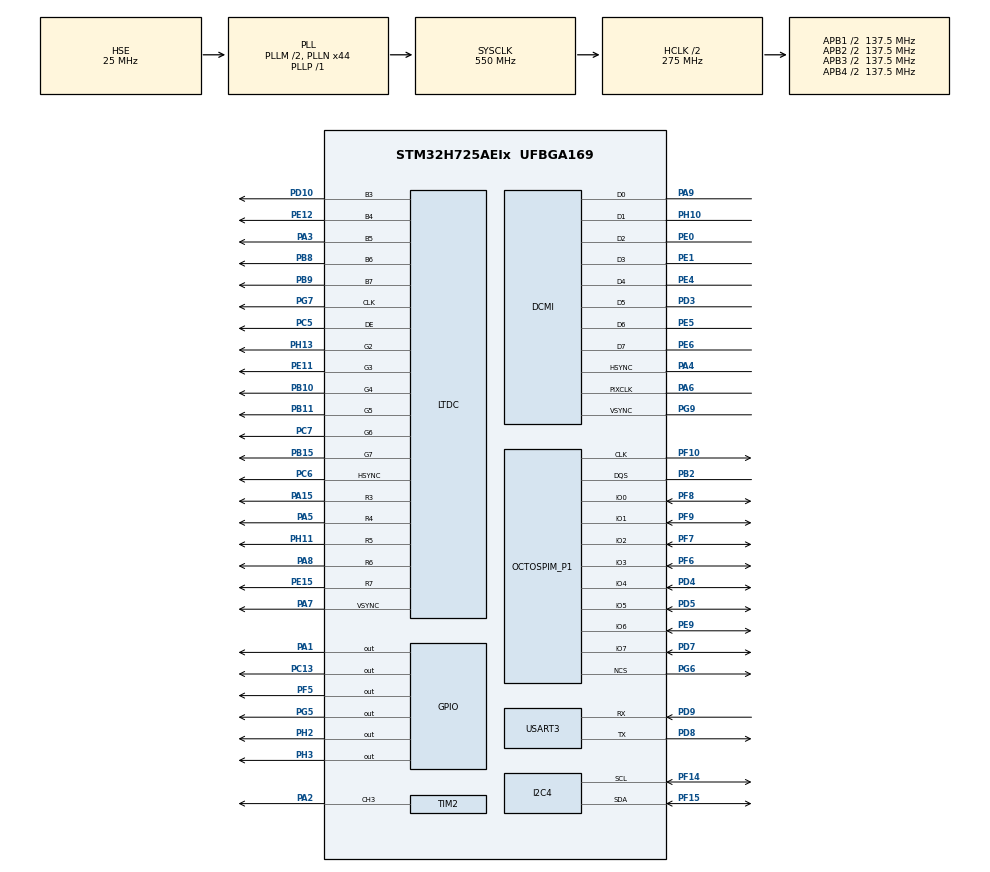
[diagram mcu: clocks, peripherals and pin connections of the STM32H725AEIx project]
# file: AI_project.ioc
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CORTEX_M7.CPU_DCache=Enabled
CORTEX_M7.CPU_ICache=Enabled
CORTEX_M7.MPU_Control=MPU_HFNMI_PRIVDEF
DCMI.PCKPolarity=DCMI_PCKPOLARITY_RISING
Dma.DCMI_PSSI.0.Direction=DMA_PERIPH_TO_MEMORY
Dma.DCMI_PSSI.0.EventEnable=DISABLE
Dma.DCMI_PSSI.0.FIFOMode=DMA_FIFOMODE_ENABLE
Dma.DCMI_PSSI.0.FIFOThreshold=DMA_FIFO_THRESHOLD_FULL
Dma.DCMI_PSSI.0.Instance=DMA2_Stream1
Dma.DCMI_PSSI.0.MemBurst=DMA_MBURST_SINGLE
Dma.DCMI_PSSI.0.MemDataAlignment=DMA_MDATAALIGN_WORD
Dma.DCMI_PSSI.0.MemInc=DMA_MINC_ENABLE
Dma.DCMI_PSSI.0.Mode=DMA_CIRCULAR
Dma.DCMI_PSSI.0.PeriphBurst=DMA_PBURST_SINGLE
Dma.DCMI_PSSI.0.PeriphDataAlignment=DMA_PDATAALIGN_WORD
Dma.DCMI_PSSI.0.PeriphInc=DMA_PINC_DISABLE
Dma.DCMI_PSSI.0.Polarity=HAL_DMAMUX_REQ_GEN_RISING
Dma.DCMI_PSSI.0.Priority=DMA_PRIORITY_VERY_HIGH
Dma.DCMI_PSSI.0.RequestNumber=1
Dma.DCMI_PSSI.0.SignalID=NONE
Dma.DCMI_PSSI.0.SyncEnable=DISABLE
Dma.DCMI_PSSI.0.SyncPolarity=HAL_DMAMUX_SYNC_NO_EVENT
Dma.DCMI_PSSI.0.SyncRequestNumber=1
Dma.DCMI_PSSI.0.SyncSignalID=NONE
Dma.Request0=DCMI_PSSI
I2C4.Timing=0x60404E72
LTDC.ActiveH=320
LTDC.ActiveW=240
LTDC.Alpha_L0=255
LTDC.BlendingFactor1_L0=LTDC_BLENDING_FACTOR1_PAxCA
LTDC.BlendingFactor2_L0=LTDC_BLENDING_FACTOR2_PAxCA
LTDC.FBStartAdress_L0=LCD_BUFFER
LTDC.Green=0
LTDC.HBP=10
LTDC.HFP=38
LTDC.HSync=10
LTDC.ImageHeight_L0=320
LTDC.ImageWidth_L0=240
LTDC.Layers=0
LTDC.PixelFormat_L0=LTDC_PIXEL_FORMAT_RGB565
LTDC.Red=0
LTDC.WindowX1_L0=240
LTDC.WindowY1_L0=320
Mcu.Family=STM32H7
Mcu.Name=STM32H725AEIx
Mcu.Package=UFBGA169
NVIC.DCMI_PSSI_IRQn=true\:5\:0\:true\:false\:true\:true\:true
NVIC.DMA2_Stream1_IRQn=true\:0\:0\:false\:false\:true\:false\:true
NVIC.PriorityGroup=NVIC_PRIORITYGROUP_4
OCTOSPI1.ChipSelectBoundary=10
OCTOSPI1.ClkChipSelectHighTime=1
OCTOSPI1.ClockPrescaler=2
OCTOSPI1.DelayBlockBypass=HAL_OSPI_DELAY_BLOCK_USED
OCTOSPI1.DelayHoldQuarterCycle=HAL_OSPI_DHQC_ENABLE
OCTOSPI1.DeviceSize=23
OCTOSPI1.FifoThreshold=4
OCTOSPI1.MemoryType=HAL_OSPI_MEMTYPE_APMEMORY
PA1.PinState=GPIO_PIN_RESET
PA1.Signal=GPIO_Output
PA15(JTDI).Mode=RGB565
PA15(JTDI).Signal=LTDC_R3
PA2.Signal=S_TIM2_CH3
PA3.Mode=RGB565
PA3.Signal=LTDC_B5
PA4.Mode=Slave_8_bits_External_Synchro
PA4.Signal=DCMI_HSYNC
PA5.Mode=RGB565
PA5.Signal=LTDC_R4
PA6.Mode=Slave_8_bits_External_Synchro
PA6.Signal=DCMI_PIXCLK
PA7.Mode=RGB565
PA7.Signal=LTDC_VSYNC
PA8.Mode=RGB565
PA8.Signal=LTDC_R6
PA9.Mode=Slave_8_bits_External_Synchro
PA9.Signal=DCMI_D0
PB10.Mode=RGB565
PB10.Signal=LTDC_G4
PB11.Mode=RGB565
PB11.Signal=LTDC_G5
PB15.Mode=RGB565
PB15.Signal=LTDC_G7
PB2.Mode=OCTOSPI1_Port1_DQS
PB2.Signal=OCTOSPIM_P1_DQS
PB8.Mode=RGB565
PB8.Signal=LTDC_B6
PB9.Mode=RGB565
PB9.Signal=LTDC_B7
PC13.Signal=GPIO_Output
PC14-OSC32_IN.Mode=LSE-External-Oscillator
PC14-OSC32_IN.Signal=RCC_OSC32_IN
PC15-OSC32_OUT.Mode=LSE-External-Oscillator
PC15-OSC32_OUT.Signal=RCC_OSC32_OUT
PC5.Mode=RGB565
PC5.Signal=LTDC_DE
PC6.Mode=RGB565
PC6.Signal=LTDC_HSYNC
PC7.Mode=RGB565
PC7.Signal=LTDC_G6
PD10.Mode=RGB565
PD10.Signal=LTDC_B3
PD3.Mode=Slave_8_bits_External_Synchro
PD3.Signal=DCMI_D5
PD4.Mode=OCTOSPI1_IOH_Port1H
PD4.Signal=OCTOSPIM_P1_IO4
PD5.Mode=OCTOSPI1_IOH_Port1H
PD5.Signal=OCTOSPIM_P1_IO5
PD7.Mode=OCTOSPI1_IOH_Port1H
PD7.Signal=OCTOSPIM_P1_IO7
PD8.Mode=Asynchronous
PD8.Signal=USART3_TX
PD9.Mode=Asynchronous
PD9.Signal=USART3_RX
PE0.Mode=Slave_8_bits_External_Synchro
PE0.Signal=DCMI_D2
PE1.Mode=Slave_8_bits_External_Synchro
PE1.Signal=DCMI_D3
PE11.Mode=RGB565
PE11.Signal=LTDC_G3
PE12.Mode=RGB565
PE12.Signal=LTDC_B4
PE15.Mode=RGB565
PE15.Signal=LTDC_R7
PE4.Mode=Slave_8_bits_External_Synchro
PE4.Signal=DCMI_D4
PE5.Mode=Slave_8_bits_External_Synchro
PE5.Signal=DCMI_D6
PE6.Mode=Slave_8_bits_External_Synchro
PE6.Signal=DCMI_D7
PE9.Mode=OCTOSPI1_IOH_Port1H
PE9.Signal=OCTOSPIM_P1_IO6
PF10.Mode=O1_P1_CLK
PF10.Signal=OCTOSPIM_P1_CLK
PF14.Mode=I2C
PF14.Signal=I2C4_SCL
PF15.Mode=I2C
PF15.Signal=I2C4_SDA
PF5.Signal=GPIO_Output
PF6.Mode=OCTOSPI1_IOL_Port1L
PF6.Signal=OCTOSPIM_P1_IO3
PF7.Mode=OCTOSPI1_IOL_Port1L
PF7.Signal=OCTOSPIM_P1_IO2
PF8.Mode=OCTOSPI1_IOL_Port1L
PF8.Signal=OCTOSPIM_P1_IO0
PF9.Mode=OCTOSPI1_IOL_Port1L
PF9.Signal=OCTOSPIM_P1_IO1
PG5.Signal=GPIO_Output
PG6.Mode=OCTOSPI1_Port1_NCS
PG6.Signal=OCTOSPIM_P1_NCS
PG7.Mode=RGB565
PG7.Signal=LTDC_CLK
PG9.Mode=Slave_8_bits_External_Synchro
PG9.Signal=DCMI_VSYNC
PH0-OSC_IN.Mode=HSE-External-Oscillator
PH0-OSC_IN.Signal=RCC_OSC_IN
PH1-OSC_OUT.Mode=HSE-External-Oscillator
PH1-OSC_OUT.Signal=RCC_OSC_OUT
PH10.Mode=Slave_8_bits_External_Synchro
PH10.Signal=DCMI_D1
PH11.Mode=RGB565
PH11.Signal=LTDC_R5
PH13.Mode=RGB565
PH13.Signal=LTDC_G2
PH2.Signal=GPIO_Output
PH3.Signal=GPIO_Output
ProjectManager.HeapSize=0x200
ProjectManager.StackSize=0x400
ProjectManager.TargetToolchain=STM32CubeIDE
RCC.ADCFreq_Value=133000000
RCC.APB1Freq_Value=137500000
RCC.APB2Freq_Value=137500000
RCC.APB3Freq_Value=137500000
RCC.APB4Freq_Value=137500000
RCC.CortexFreq_Value=550000000
RCC.D1PPRE=RCC_APB3_DIV2
RCC.D2PPRE1=RCC_APB1_DIV2
RCC.D2PPRE2=RCC_APB2_DIV2
RCC.D3PPRE=RCC_APB4_DIV2
RCC.DIVM1=2
RCC.DIVM2=25
RCC.DIVM3=5
RCC.DIVN1=44
RCC.DIVN2=266
RCC.DIVN3=48
RCC.DIVP1=1
RCC.DIVQ1=5
RCC.DIVQ3=5
RCC.DIVR2=1
RCC.DIVR3=20
RCC.HCLKFreq_Value=275000000
RCC.HPRE=RCC_HCLK_DIV2
RCC.PLLSourceVirtual=RCC_PLLSOURCE_HSE
RCC.QSPICLockSelection=RCC_OSPICLKSOURCE_PLL2
RCC.SYSCLKFreq_VALUE=550000000
RCC.SYSCLKSource=RCC_SYSCLKSOURCE_PLLCLK
RCC.USBFreq_Value=110000000
SH.S_TIM2_CH3.0=TIM2_CH3,PWM Generation3 CH3
TIM2.AutoReloadPreload=TIM_AUTORELOAD_PRELOAD_ENABLE
TIM2.Channel-PWM\ Generation3\ CH3=TIM_CHANNEL_3
TIM2.Period=10
TIM2.Pulse-PWM\ Generation3\ CH3=5
USART3.VirtualMode-Asynchronous=VM_ASYNC
VP_OCTOSPI1_VS_octo.Mode=octo_mode
VP_TIM2_VS_ClockSourceINT.Mode=Internal
board=custom

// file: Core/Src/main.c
/* USER CODE BEGIN Header */
/**
 ******************************************************************************
 * @file           : main.c
 * @brief          : Main program body
 ******************************************************************************
 * @attention
 *
 * <h2><center>&copy; Copyright (c) 2021 STMicroelectronics.
 * All rights reserved.</center></h2>
 *
 * This software component is licensed by ST under BSD 3-Clause license,
 * the "License"; You may not use this file except in compliance with the
 * License. You may obtain a copy of the License at:
 *                        opensource.org/licenses/BSD-3-Clause
 *
 ******************************************************************************
 */
/* USER CODE END Header */
#include "main.h"
#include "dcmi.h"
#include "dma.h"
#include "i2c.h"
#include "ltdc.h"
#include "octospi.h"
#include "tim.h"
#include "usart.h"
#include "gpio.h"

/* USER CODE BEGIN Includes */
#include "LOG.h"
#include "LCD.h"
#include "OV2640.h"
#include "AP6408L.h"
/* USER CODE END Includes */

/* USER CODE BEGIN PV */
EXTMEM uint8_t buffer[320 * 240 * 2] =
{ 0 }; //
static Frame_TypeDef frame =
{ .buffer = buffer, .length = 320 * 240 * 2, .width = 320, .height = 240 };
static OV2640_TypeDef OV2640 =
{ .dcmi = &hdcmi, .dma = &hdma_dcmi_pssi, .i2c = &hi2c4, .frame = &frame };
/* USER CODE END PV */

void SystemClock_Config(void);
static void MPU_Config(void);

int main(void)
{

  /* MPU Configuration--------------------------------------------------------*/
  MPU_Config();

  /* Enable I-Cache---------------------------------------------------------*/
  SCB_EnableICache();

  /* Enable D-Cache---------------------------------------------------------*/
  SCB_EnableDCache();

  /* MCU Configuration--------------------------------------------------------*/

  /* Reset of all peripherals, Initializes the Flash interface and the Systick. */
  HAL_Init();

  /* Configure the system clock */
  SystemClock_Config();

  /* Initialize all configured peripherals */
  MX_GPIO_Init();
  MX_USART3_UART_Init();
  MX_LTDC_Init();
  MX_I2C4_Init();
  MX_DMA_Init();
  MX_DCMI_Init();
  MX_TIM2_Init();
  MX_OCTOSPI1_Init();
  /* USER CODE BEGIN 2 */
	LOG("here");
	Psram_Init();

	/*OV2640 Init*/
	HAL_TIM_PWM_Start(&htim2, TIM_CHANNEL_3); //XCLK
	OV2640_Init(&OV2640);
	OV2640_ReadID(&(OV2640.ID));
	LOG("ID: %02X %02X \r\n", OV2640.ID.PIDH, OV2640.ID.PIDL);
	OV2640_UXGAConfig();
	OV2640_Start();

  /* USER CODE END 2 */

  /* Infinite loop */
	while (1)
	{

	}
}

void SystemClock_Config(void)
{
  RCC_OscInitTypeDef RCC_OscInitStruct = {0};
  RCC_ClkInitTypeDef RCC_ClkInitStruct = {0};

  /** Supply configuration update enable
  */
  HAL_PWREx_ConfigSupply(PWR_DIRECT_SMPS_SUPPLY);
  /** Configure the main internal regulator output voltage
  */
  __HAL_PWR_VOLTAGESCALING_CONFIG(PWR_REGULATOR_VOLTAGE_SCALE0);

  while(!__HAL_PWR_GET_FLAG(PWR_FLAG_VOSRDY)) {}
  /** Macro to configure the PLL clock source
  */
  __HAL_RCC_PLL_PLLSOURCE_CONFIG(RCC_PLLSOURCE_HSE);
  /** Initializes the RCC Oscillators according to the specified parameters
  * in the RCC_OscInitTypeDef structure.
  */
  RCC_OscInitStruct.OscillatorType = RCC_OSCILLATORTYPE_HSE;
  RCC_OscInitStruct.HSEState = RCC_HSE_ON;
  RCC_OscInitStruct.PLL.PLLState = RCC_PLL_ON;
  RCC_OscInitStruct.PLL.PLLSource = RCC_PLLSOURCE_HSE;
  RCC_OscInitStruct.PLL.PLLM = 2;
  RCC_OscInitStruct.PLL.PLLN = 44;
  RCC_OscInitStruct.PLL.PLLP = 1;
  RCC_OscInitStruct.PLL.PLLQ = 5;
  RCC_OscInitStruct.PLL.PLLR = 2;
  RCC_OscInitStruct.PLL.PLLRGE = RCC_PLL1VCIRANGE_3;
  RCC_OscInitStruct.PLL.PLLVCOSEL = RCC_PLL1VCOWIDE;
  RCC_OscInitStruct.PLL.PLLFRACN = 0;
  if (HAL_RCC_OscConfig(&RCC_OscInitStruct) != HAL_OK)
  {
    Error_Handler();
  }
  /** Initializes the CPU, AHB and APB buses clocks
  */
  RCC_ClkInitStruct.ClockType = RCC_CLOCKTYPE_HCLK|RCC_CLOCKTYPE_SYSCLK
                              |RCC_CLOCKTYPE_PCLK1|RCC_CLOCKTYPE_PCLK2
                              |RCC_CLOCKTYPE_D3PCLK1|RCC_CLOCKTYPE_D1PCLK1;
  RCC_ClkInitStruct.SYSCLKSource = RCC_SYSCLKSOURCE_PLLCLK;
  RCC_ClkInitStruct.SYSCLKDivider = RCC_SYSCLK_DIV1;
  RCC_ClkInitStruct.AHBCLKDivider = RCC_HCLK_DIV2;
  RCC_ClkInitStruct.APB3CLKDivider = RCC_APB3_DIV2;
  RCC_ClkInitStruct.APB1CLKDivider = RCC_APB1_DIV2;
  RCC_ClkInitStruct.APB2CLKDivider = RCC_APB2_DIV2;
  RCC_ClkInitStruct.APB4CLKDivider = RCC_APB4_DIV2;

  if (HAL_RCC_ClockConfig(&RCC_ClkInitStruct, FLASH_LATENCY_3) != HAL_OK)
  {
    Error_Handler();
  }
}

/* MPU Configuration */

void MPU_Config(void)
{

  /* Disables the MPU */
  HAL_MPU_Disable();
  /* Enables the MPU */
  HAL_MPU_Enable(MPU_HFNMI_PRIVDEF);

}

void Error_Handler(void)
{
	__disable_irq();
	while (1)
	{
	}
}

/************************ (C) COPYRIGHT STMicroelectronics *****END OF FILE****/
